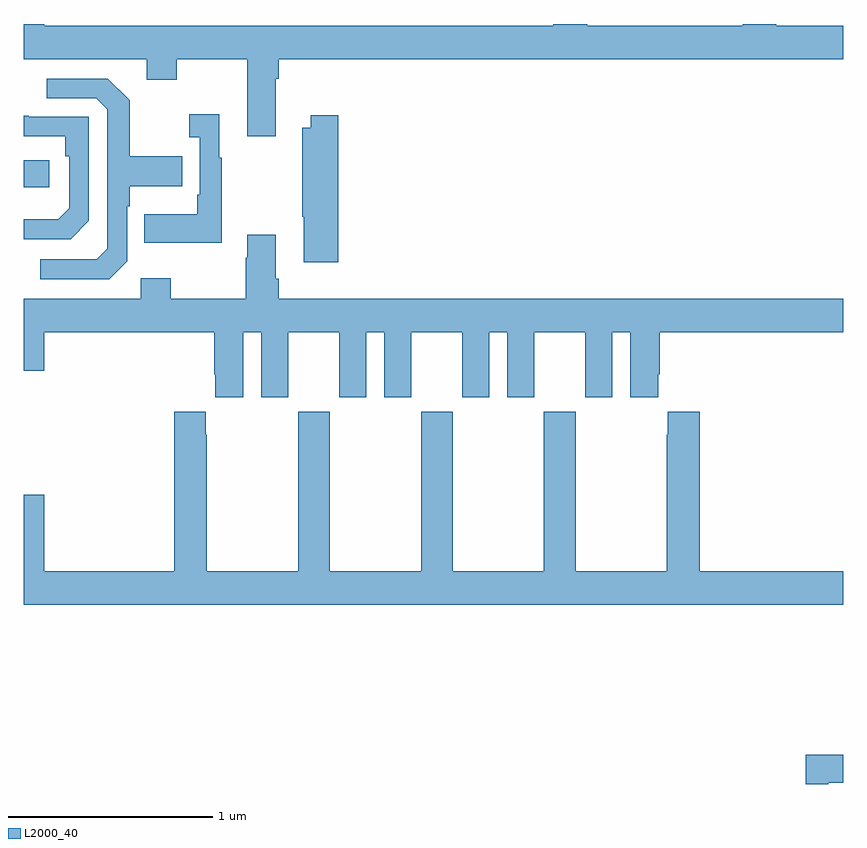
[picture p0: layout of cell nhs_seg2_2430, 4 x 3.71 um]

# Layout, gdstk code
import gdstk
lib = gdstk.Library(unit=1e-6, precision=1e-09)
def R(c, l, rs):  # rectangles x0, y0, x1, y1
    for r in rs: c.add(gdstk.rectangle(r[:2], r[2:], *l))
def P(c, l, *ps):  # polygons
    for p in ps: c.add(gdstk.Polygon(p, *l))
L2000_40 = (2000, 40)

nhs_seg2_2430 = lib.new_cell('nhs_seg2_2430')
R(nhs_seg2_2430, L2000_40, [(237,655.004,237.124,655.134)])
P(nhs_seg2_2430, L2000_40, [(238.231,655.532),(238.244,655.532),(238.244,655.628),(241,655.628),(241,655.792),(240.674,655.792),(240.674,655.8),(240.509,655.8),(240.509,655.792),(239.75,655.792),(239.75,655.8),(239.585,655.8),(239.585,655.792),(237.1,655.792),(237.1,655.8),(237,655.8),(237,655.628),(237.599,655.628),(237.599,655.529),(237.747,655.529),(237.747,655.628),(238.091,655.628),(238.091,655.251),(238.231,655.251)],
  [(237.504,654.642),(237.504,654.911),(237.517,654.911),(237.517,655.007),(237.773,655.007),(237.773,655.155),(237.517,655.155),(237.517,655.427),(237.411,655.533),(237.111,655.533),(237.111,655.437),(237.354,655.437),(237.408,655.383),(237.408,654.702),(237.357,654.651),(237.081,654.651),(237.081,654.555),(237.417,654.555)],
  [(237.967,655.147),(237.955,655.147),(237.955,655.36),(237.807,655.36),(237.807,655.247),(237.858,655.247),(237.858,654.967),(237.846,654.967),(237.846,654.871),(237.589,654.871),(237.589,654.731),(237.967,654.731)],
  [(238.535,655.354),(238.4,655.354),(238.4,655.294),(238.36,655.294),(238.36,654.859),(238.367,654.859),(238.367,654.636),(238.535,654.636)],
  [(237.318,654.84),(237.318,655.347),(237.023,655.347),(237.023,655.352),(237,655.352),(237,655.251),(237.202,655.251),(237.202,655.154),(237.222,655.154),(237.222,654.9),(237.169,654.847),(237,654.847),(237,654.75),(237.228,654.75)],
  [(238.244,654.556),(238.231,654.556),(238.231,654.772),(238.091,654.772),(238.091,654.659),(238.084,654.659),(238.084,654.46),(237.717,654.46),(237.717,654.559),(237.57,654.559),(237.57,654.46),(237,654.46),(237,654.108),(237.1,654.108),(237.1,654.296),(237.929,654.296),(237.929,654.091),(237.935,654.091),(237.935,653.979),(238.072,653.979),(238.072,654.296),(238.16,654.296),(238.16,653.979),(238.291,653.979),(238.291,654.296),(238.541,654.296),(238.541,653.979),(238.672,653.979),(238.672,654.296),(238.76,654.296),(238.76,653.979),(238.891,653.979),(238.891,654.296),(239.141,654.296),(239.141,653.979),(239.272,653.979),(239.272,654.296),(239.36,654.296),(239.36,653.979),(239.491,653.979),(239.491,654.296),(239.741,654.296),(239.741,653.979),(239.872,653.979),(239.872,654.296),(239.96,654.296),(239.96,653.979),(240.097,653.979),(240.097,654.091),(240.104,654.091),(240.104,654.296),(241,654.296),(241,654.46),(238.244,654.46)],
  [(240.143,653.908),(240.143,653.795),(240.139,653.795),(240.139,653.128),(239.694,653.128),(239.694,653.908),(239.539,653.908),(239.539,653.128),(239.094,653.128),(239.094,653.908),(238.939,653.908),(238.939,653.128),(238.494,653.128),(238.494,653.908),(238.339,653.908),(238.339,653.128),(237.894,653.128),(237.894,653.795),(237.889,653.795),(237.889,653.908),(237.734,653.908),(237.734,653.128),(237.1,653.128),(237.1,653.503),(237,653.503),(237,652.964),(241,652.964),(241,653.128),(240.299,653.128),(240.299,653.908)],
  [(240.928,652.097),(241,652.097),(241,652.232),(240.816,652.232),(240.816,652.09),(240.928,652.09)])

lib.write_gds('nhs_seg2_2430.gds')
